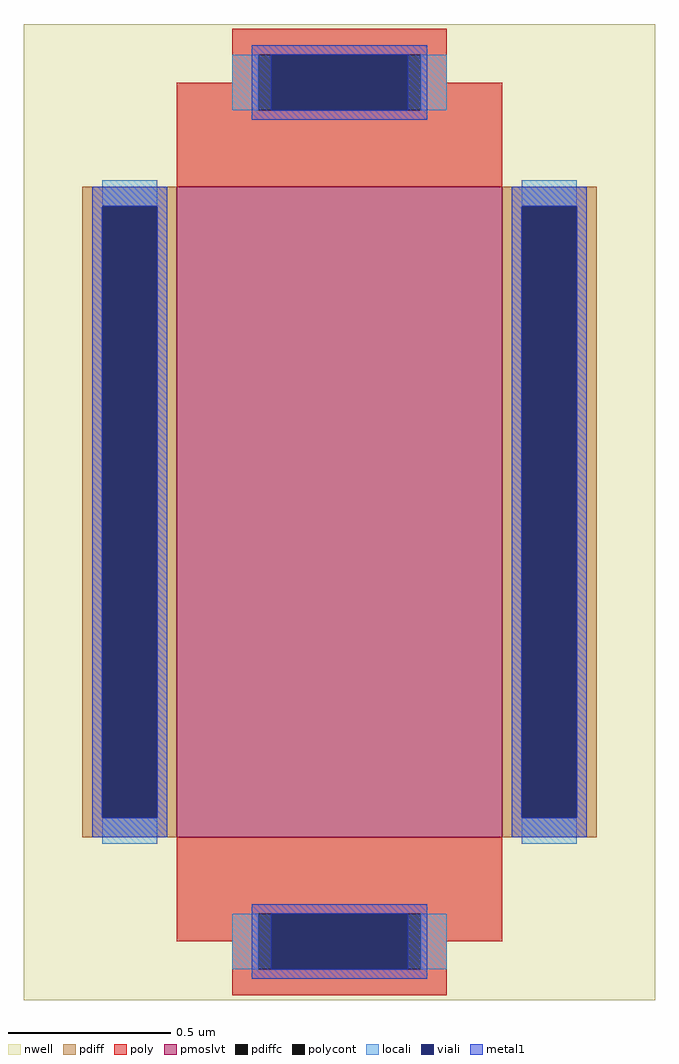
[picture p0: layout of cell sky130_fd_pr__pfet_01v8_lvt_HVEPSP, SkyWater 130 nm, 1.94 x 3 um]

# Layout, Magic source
magic
tech sky130A
magscale 1 2
<< nwell >>
rect -194 -300 194 300
<< pmoslvt >>
rect -100 -200 100 200
<< pdiff >>
rect -158 188 -100 200
rect -158 -188 -146 188
rect -112 -188 -100 188
rect -158 -200 -100 -188
rect 100 188 158 200
rect 100 -188 112 188
rect 146 -188 158 188
rect 100 -200 158 -188
<< pdiffc >>
rect -146 -188 -112 188
rect 112 -188 146 188
<< poly >>
rect -66 281 66 297
rect -66 264 -50 281
rect -100 247 -50 264
rect 50 264 66 281
rect 50 247 100 264
rect -100 200 100 247
rect -100 -247 100 -200
rect -100 -264 -50 -247
rect -66 -281 -50 -264
rect 50 -264 100 -247
rect 50 -281 66 -264
rect -66 -297 66 -281
<< polycont >>
rect -50 247 50 281
rect -50 -281 50 -247
<< locali >>
rect -66 247 -50 281
rect 50 247 66 281
rect -146 188 -112 204
rect -146 -204 -112 -188
rect 112 188 146 204
rect 112 -204 146 -188
rect -66 -281 -50 -247
rect 50 -281 66 -247
<< viali >>
rect -42 247 42 281
rect -146 -188 -112 188
rect 112 -188 146 188
rect -42 -281 42 -247
<< metal1 >>
rect -54 281 54 287
rect -54 247 -42 281
rect 42 247 54 281
rect -54 241 54 247
rect -152 188 -106 200
rect -152 -188 -146 188
rect -112 -188 -106 188
rect -152 -200 -106 -188
rect 106 188 152 200
rect 106 -188 112 188
rect 146 -188 152 188
rect 106 -200 152 -188
rect -54 -247 54 -241
rect -54 -281 -42 -247
rect 42 -281 54 -247
rect -54 -287 54 -281
<< properties >>
string gencell sky130_fd_pr__pfet_01v8_lvt
string parameters w 2 l 1 m 1 nf 1 diffcov 100 polycov 60 guard 0 glc 1 grc 1 gtc 1 gbc 1 tbcov 100 rlcov 100 topc 1 botc 1 poverlap 0 doverlap 1 lmin 0.35 wmin 0.42 compatible {sky130_fd_pr__pfet_01v8  sky130_fd_pr__pfet_01v8_lvt sky130_fd_pr__pfet_01v8_hvt  sky130_fd_pr__pfet_g5v0d10v5} full_metal 1 viasrc 100 viadrn 100 viagate 50 viagb 0 viagr 0 viagl 0 viagt 0
string library sky130
<< end >>
